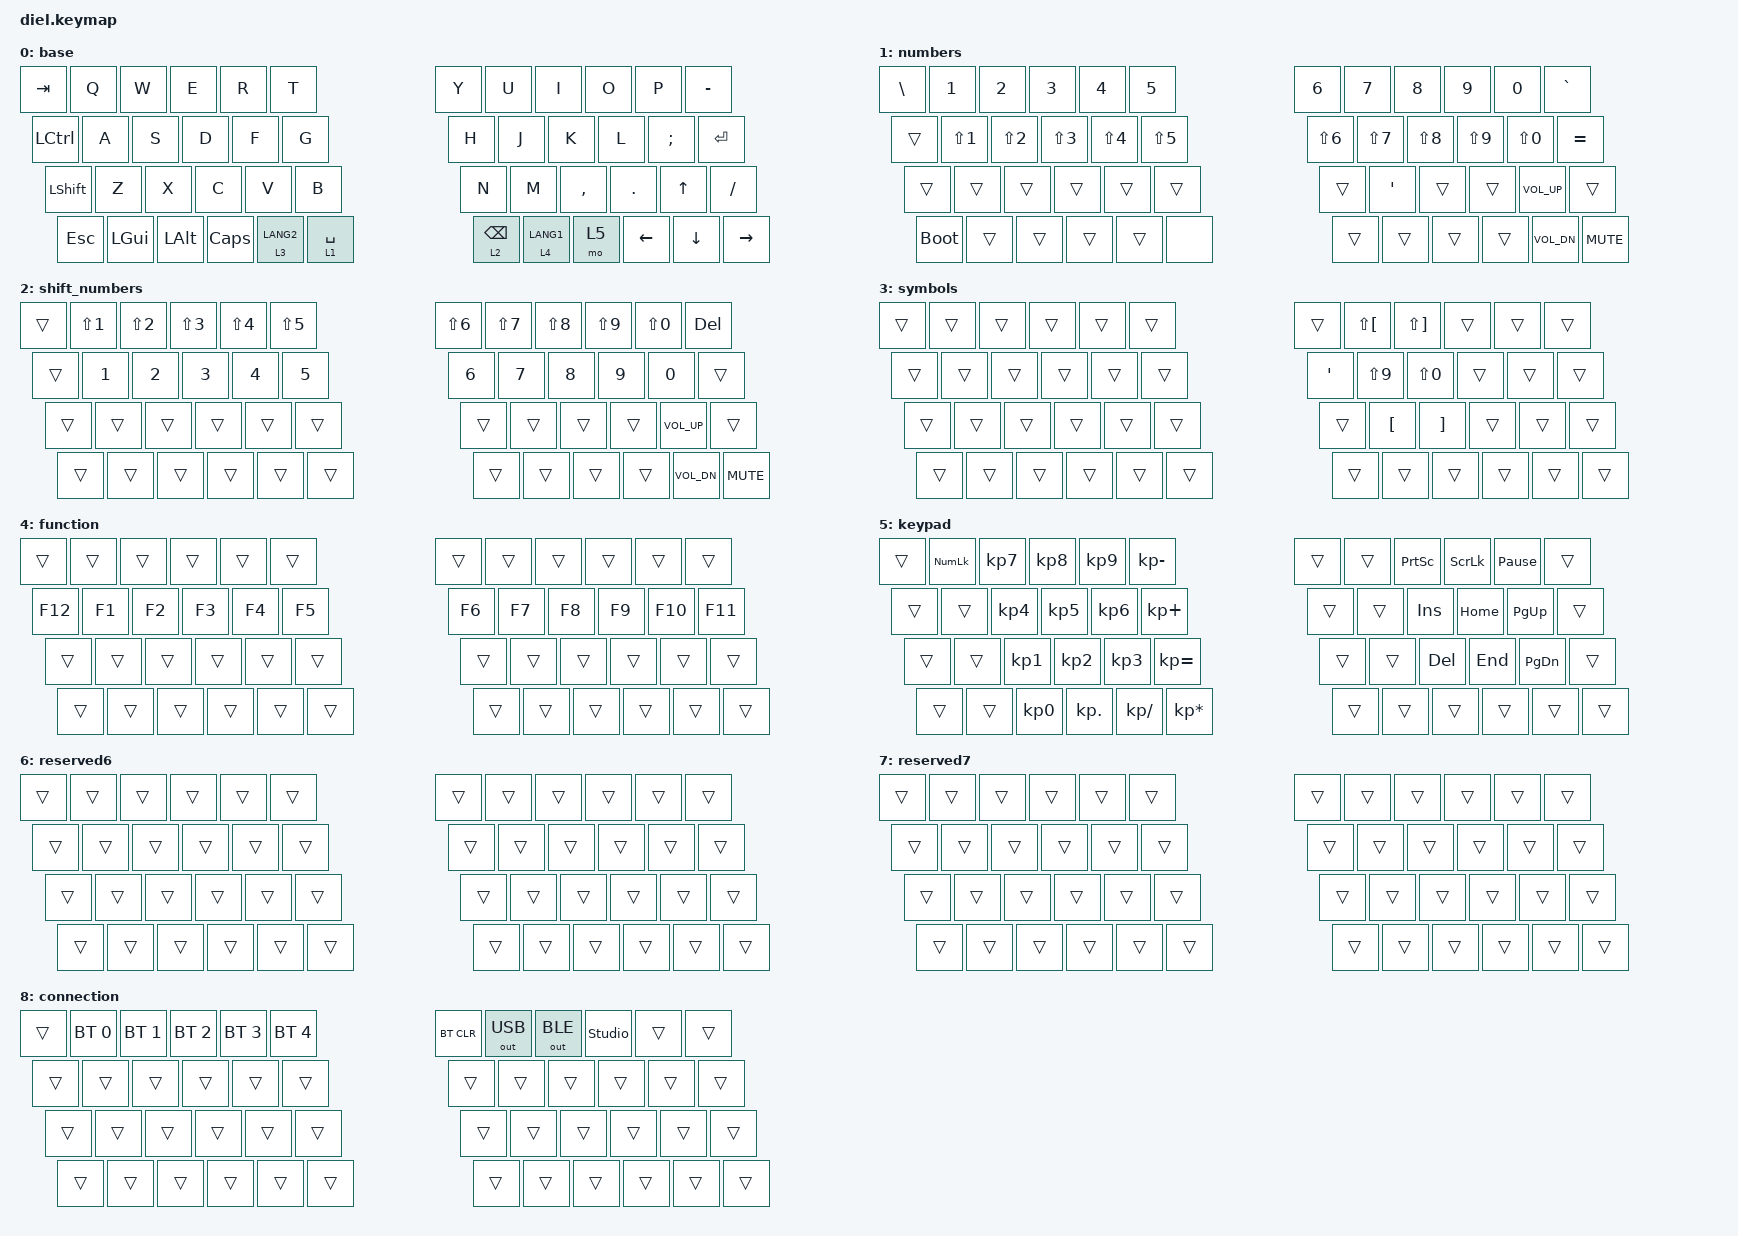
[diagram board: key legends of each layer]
/* Default DIEL keymap, ported from the wired PREC. */
#include <behaviors.dtsi>
#include <dt-bindings/zmk/keys.h>
#include <dt-bindings/zmk/bt.h>
#include <dt-bindings/zmk/outputs.h>

/ {
    behaviors {
        prec_lt: prec_layer_tap {
            compatible = "zmk,behavior-hold-tap";
            #binding-cells = <2>;
            flavor = "hold-preferred";
            tapping-term-ms = <180>;
            quick-tap-ms = <180>;
            bindings = <&mo>, <&kp>;
        };
        prec_macro_0: prec_macro_0 {
            compatible = "zmk,behavior-macro";
            #binding-cells = <0>;
            tap-ms = <10>;
            wait-ms = <10>;
            bindings = <&kp LS(N9)>, <&kp LS(N0)>, <&kp LEFT>;
        };
        prec_macro_1: prec_macro_1 {
            compatible = "zmk,behavior-macro";
            #binding-cells = <0>;
            tap-ms = <10>;
            wait-ms = <10>;
            bindings = <&kp LS(LBKT)>, <&kp LS(RBKT)>, <&kp LEFT>;
        };
        prec_macro_2: prec_macro_2 {
            compatible = "zmk,behavior-macro";
            #binding-cells = <0>;
            tap-ms = <10>;
            wait-ms = <10>;
            bindings = <&kp LBKT>, <&kp RBKT>, <&kp LEFT>;
        };
    };
    combos {
        compatible = "zmk,combos";
        prec_combo_0 {
            timeout-ms = <50>;
            key-positions = <19 20>;
            layers = <0 6 7>;
            bindings = <&prec_macro_0>;
        };
        prec_combo_1 {
            timeout-ms = <50>;
            key-positions = <7 8>;
            layers = <0 4 6 7>;
            bindings = <&prec_macro_1>;
        };
        prec_combo_2 {
            timeout-ms = <50>;
            key-positions = <31 32>;
            layers = <0 2 4 6 7>;
            bindings = <&prec_macro_2>;
        };
        /* Add wireless controls without changing the captured layer bindings. */
        wireless_controls {
            timeout-ms = <50>;
            key-positions = <34 46>; /* physical Up + Down */
            layers = <1 2>; /* hold Space or Backspace first */
            bindings = <&mo 8>;
            slow-release;
        };
    };
    keymap {
        compatible = "zmk,keymap";
        base {
            bindings = <
                &kp TAB  &kp Q  &kp W  &kp E  &kp R  &kp T  &kp Y  &kp U  &kp I  &kp O  &kp P  &kp MINUS
                &kp LCTRL  &kp A  &kp S  &kp D  &kp F  &kp G  &kp H  &kp J  &kp K  &kp L  &kp SEMI  &kp ENTER
                &kp LSHFT  &kp Z  &kp X  &kp C  &kp V  &kp B  &kp N  &kp M  &kp COMMA  &kp DOT  &kp UP  &kp SLASH
                &kp ESC  &kp LGUI  &kp LALT  &kp CAPS  &prec_lt 3 LANG2  &prec_lt 1 SPACE  &prec_lt 2 BSPC  &prec_lt 4 LANG1  &mo 5  &kp LEFT  &kp DOWN  &kp RIGHT
            >;
        };
        numbers {
            bindings = <
                &kp BSLH  &kp N1  &kp N2  &kp N3  &kp N4  &kp N5  &kp N6  &kp N7  &kp N8  &kp N9  &kp N0  &kp GRAVE
                &trans  &kp LS(N1)  &kp LS(N2)  &kp LS(N3)  &kp LS(N4)  &kp LS(N5)  &kp LS(N6)  &kp LS(N7)  &kp LS(N8)  &kp LS(N9)  &kp LS(N0)  &kp EQUAL
                &trans  &trans  &trans  &trans  &trans  &trans  &trans  &kp SQT  &trans  &trans  &kp C_VOL_UP  &trans
                &bootloader  &trans  &trans  &trans  &trans  &none  &trans  &trans  &trans  &trans  &kp C_VOL_DN  &kp C_MUTE
            >;
        };
        shift_numbers {
            bindings = <
                &trans  &kp LS(N1)  &kp LS(N2)  &kp LS(N3)  &kp LS(N4)  &kp LS(N5)  &kp LS(N6)  &kp LS(N7)  &kp LS(N8)  &kp LS(N9)  &kp LS(N0)  &kp DELETE
                &trans  &kp N1  &kp N2  &kp N3  &kp N4  &kp N5  &kp N6  &kp N7  &kp N8  &kp N9  &kp N0  &trans
                &trans  &trans  &trans  &trans  &trans  &trans  &trans  &trans  &trans  &trans  &kp C_VOL_UP  &trans
                &trans  &trans  &trans  &trans  &trans  &trans  &trans  &trans  &trans  &trans  &kp C_VOL_DN  &kp C_MUTE
            >;
        };
        symbols {
            bindings = <
                &trans  &trans  &trans  &trans  &trans  &trans  &trans  &kp LS(LBKT)  &kp LS(RBKT)  &trans  &trans  &trans
                &trans  &trans  &trans  &trans  &trans  &trans  &kp SQT  &kp LS(N9)  &kp LS(N0)  &trans  &trans  &trans
                &trans  &trans  &trans  &trans  &trans  &trans  &trans  &kp LBKT  &kp RBKT  &trans  &trans  &trans
                &trans  &trans  &trans  &trans  &trans  &trans  &trans  &trans  &trans  &trans  &trans  &trans
            >;
        };
        function {
            bindings = <
                &trans  &trans  &trans  &trans  &trans  &trans  &trans  &trans  &trans  &trans  &trans  &trans
                &kp F12  &kp F1  &kp F2  &kp F3  &kp F4  &kp F5  &kp F6  &kp F7  &kp F8  &kp F9  &kp F10  &kp F11
                &trans  &trans  &trans  &trans  &trans  &trans  &trans  &trans  &trans  &trans  &trans  &trans
                &trans  &trans  &trans  &trans  &trans  &trans  &trans  &trans  &trans  &trans  &trans  &trans
            >;
        };
        keypad {
            bindings = <
                &trans  &kp KP_NUMLOCK  &kp KP_N7  &kp KP_N8  &kp KP_N9  &kp KP_MINUS  &trans  &trans  &kp PRINTSCREEN  &kp SCROLLLOCK  &kp PAUSE_BREAK  &trans
                &trans  &trans  &kp KP_N4  &kp KP_N5  &kp KP_N6  &kp KP_PLUS  &trans  &trans  &kp INSERT  &kp HOME  &kp PG_UP  &trans
                &trans  &trans  &kp KP_N1  &kp KP_N2  &kp KP_N3  &kp KP_EQUAL  &trans  &trans  &kp DELETE  &kp END  &kp PG_DN  &trans
                &trans  &trans  &kp KP_N0  &kp KP_DOT  &kp KP_DIVIDE  &kp KP_MULTIPLY  &trans  &trans  &trans  &trans  &trans  &trans
            >;
        };
        reserved6 {
            bindings = <
                &trans  &trans  &trans  &trans  &trans  &trans  &trans  &trans  &trans  &trans  &trans  &trans
                &trans  &trans  &trans  &trans  &trans  &trans  &trans  &trans  &trans  &trans  &trans  &trans
                &trans  &trans  &trans  &trans  &trans  &trans  &trans  &trans  &trans  &trans  &trans  &trans
                &trans  &trans  &trans  &trans  &trans  &trans  &trans  &trans  &trans  &trans  &trans  &trans
            >;
        };
        reserved7 {
            bindings = <
                &trans  &trans  &trans  &trans  &trans  &trans  &trans  &trans  &trans  &trans  &trans  &trans
                &trans  &trans  &trans  &trans  &trans  &trans  &trans  &trans  &trans  &trans  &trans  &trans
                &trans  &trans  &trans  &trans  &trans  &trans  &trans  &trans  &trans  &trans  &trans  &trans
                &trans  &trans  &trans  &trans  &trans  &trans  &trans  &trans  &trans  &trans  &trans  &trans
            >;
        };
        connection {
            bindings = <
                &trans  &bt BT_SEL 0  &bt BT_SEL 1  &bt BT_SEL 2  &bt BT_SEL 3  &bt BT_SEL 4  &bt BT_CLR  &out OUT_USB  &out OUT_BLE  &studio_unlock  &trans  &trans
                &trans  &trans  &trans  &trans  &trans  &trans  &trans  &trans  &trans  &trans  &trans  &trans
                &trans  &trans  &trans  &trans  &trans  &trans  &trans  &trans  &trans  &trans  &trans  &trans
                &trans  &trans  &trans  &trans  &trans  &trans  &trans  &trans  &trans  &trans  &trans  &trans
            >;
        };
    };
};
